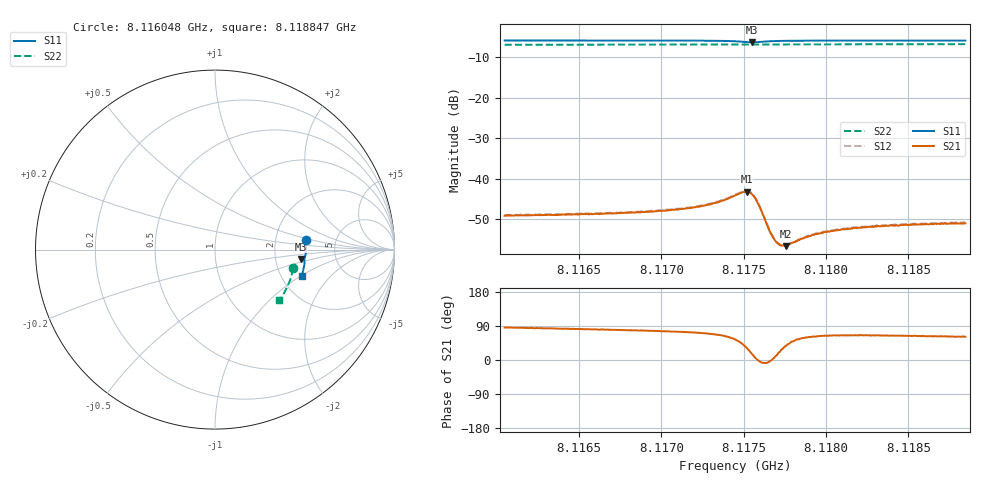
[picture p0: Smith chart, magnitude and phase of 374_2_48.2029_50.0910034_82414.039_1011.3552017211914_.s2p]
#  HZ  S  RI  R  50.00
! Rohde & Schwarz Vector Network Analyzer
! Rohde-Schwarz,ZNB20-2Port,1311601062101988,3.16
! Created: UTC 3/20/2024, 11:52:50 AM
! freq[Hz]  re:S11  im:S11  re:S21  im:S21  re:S12  im:S12  re:S22  im:S22
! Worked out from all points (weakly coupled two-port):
!   401 points, 8.116048 GHz to 8.118847 GHz, reference 50 ohm
!   highest |S21| = -43.20 dB at 8.117517 GHz (marker M1); lowest = -56.7 dB at 8.117755 GHz (marker M2)
!   lowest |S11| = -6.4 dB at 8.117552 GHz (marker M3), VSWR 2.85, Z = 140 - j18.9 ohm
!   |S11| at or under -10 dB: nowhere
!   |S22| runs from -7.0 to -6.8 dB; largest |S21 - S12| = 0.00018
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8.1160479e9  0.5043 0.0546  0.000263 0.00348  0.00032 0.00354  0.4364 -0.1045
8.1165167e9  0.5063 0.0193  0.000542 0.00363  0.000593 0.00365  0.429 -0.1361
8.1169855e9  0.5054 -0.0169  0.000957 0.0039  0.001 0.00396  0.4191 -0.1672
8.1171744e9  0.5037 -0.0323  0.00126 0.00414  0.00136 0.00422  0.4147 -0.1797
8.1172794e9  0.5019 -0.0416  0.0016 0.00445  0.00172 0.00452  0.4119 -0.1865
8.1173494e9  0.4998 -0.0485  0.00208 0.00471  0.00216 0.00479  0.4098 -0.1911
8.1174473e9  0.4926 -0.0582  0.0036 0.00505  0.00373 0.00511  0.4069 -0.1973
8.1174893e9  0.4859 -0.0603  0.0049 0.00464  0.00505 0.00471  0.4053 -0.1998
8.1175173e9  0.481 -0.0587  0.00584 0.0037  0.00601 0.0037  0.4044 -0.2016
8.1175313e9  0.4789 -0.0566  0.00612 0.00295  0.0063 0.00297  0.4039 -0.2023
8.1175523e9  0.4778 -0.052  0.00615 0.00164  0.00628 0.00162  0.4033 -0.2032
8.1175873e9  0.482 -0.0458  0.00492 -6.67e-05  0.00503 -0.000134  0.4025 -0.2052
8.1176502e9  0.4928 -0.048  0.00244 -0.00023  0.00252 -0.000267  0.4012 -0.2092
8.1176852e9  0.4959 -0.052  0.00178 0.000181  0.00181 0.000149  0.4004 -0.2115
8.1177062e9  0.4971 -0.0545  0.00154 0.000429  0.00156 0.000413  0.4 -0.2129
8.1177202e9  0.4976 -0.0562  0.00141 0.000554  0.00143 0.000574  0.3995 -0.2138
8.1177552e9  0.4984 -0.0601  0.00117 0.000886  0.00119 0.000935  0.3982 -0.2161
8.1179161e9  0.4986 -0.0756  0.00097 0.00177  0.000958 0.00176  0.3933 -0.2263
8.1180001e9  0.4977 -0.0827  0.000949 0.00198  0.000994 0.00201  0.3907 -0.2315
8.118154e9  0.4957 -0.095  0.00103 0.00221  0.00107 0.00225  0.3853 -0.2411
8.1183849e9  0.4919 -0.1124  0.00116 0.00236  0.00114 0.00239  0.3769 -0.2549
8.1188467e9  0.4828 -0.1462  0.00134 0.00247  0.00137 0.00254  0.3591 -0.282
